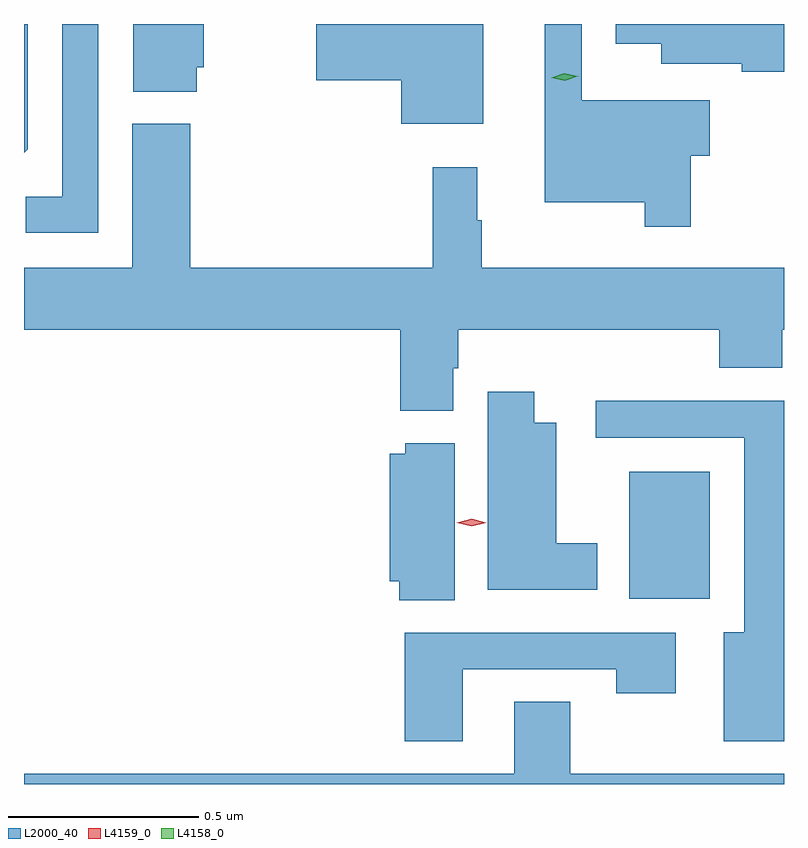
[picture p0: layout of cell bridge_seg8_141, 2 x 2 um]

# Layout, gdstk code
import gdstk
lib = gdstk.Library(unit=1e-6, precision=1e-09)
def R(c, l, rs):  # rectangles x0, y0, x1, y1
    for r in rs: c.add(gdstk.rectangle(r[:2], r[2:], *l))
def P(c, l, *ps):  # polygons
    for p in ps: c.add(gdstk.Polygon(p, *l))
L2000_40 = (2000, 40)
L4158_0 = (4158, 0)
L4159_0 = (4159, 0)

bridge_seg8_141 = lib.new_cell('bridge_seg8_141')
R(bridge_seg8_141, L2000_40, [(528.704,1153.088,528.916,1153.423)])
P(bridge_seg8_141, L2000_40, [(527.121,1154.272),(527.121,1154.601),(527.111,1154.601),(527.111,1154.262)],
  [(527.307,1154.601),(527.211,1154.601),(527.211,1154.147),(527.116,1154.147),(527.116,1154.052),(527.307,1154.052)],
  [(528.865,1154.254),(528.916,1154.254),(528.916,1154.401),(528.579,1154.401),(528.579,1154.601),(528.482,1154.601),(528.482,1154.132),(528.744,1154.132),(528.744,1154.067),(528.865,1154.067)],
  [(529.111,1154.601),(528.668,1154.601),(528.668,1154.549),(528.788,1154.549),(528.788,1154.496),(529,1154.496),(529,1154.476),(529.111,1154.476)],
  [(528.319,1154.601),(527.88,1154.601),(527.88,1154.453),(528.104,1154.453),(528.104,1154.339),(528.319,1154.339)],
  [(527.566,1154.487),(527.584,1154.487),(527.584,1154.601),(527.399,1154.601),(527.399,1154.423),(527.566,1154.423)],
  [(528.241,1153.695),(528.254,1153.695),(528.254,1153.796),(528.941,1153.796),(528.941,1153.697),(529.106,1153.697),(529.106,1153.796),(529.111,1153.796),(529.111,1153.96),(528.316,1153.96),(528.316,1154.084),(528.304,1154.084),(528.304,1154.224),(528.187,1154.224),(528.187,1153.96),(527.549,1153.96),(527.549,1154.338),(527.396,1154.338),(527.396,1153.96),(527.111,1153.96),(527.111,1153.796),(528.101,1153.796),(528.101,1153.583),(528.241,1153.583)],
  [(528.619,1153.234),(528.511,1153.234),(528.511,1153.552),(528.454,1153.552),(528.454,1153.633),(528.332,1153.633),(528.332,1153.112),(528.619,1153.112)],
  [(529.111,1153.61),(528.615,1153.61),(528.615,1153.512),(529.007,1153.512),(529.007,1153),(528.953,1153),(528.953,1152.714),(529.111,1152.714)],
  [(528.244,1153.498),(528.114,1153.498),(528.114,1153.47),(528.074,1153.47),(528.074,1153.134),(528.098,1153.134),(528.098,1153.084),(528.244,1153.084)],
  [(528.265,1152.903),(528.67,1152.903),(528.67,1152.84),(528.826,1152.84),(528.826,1152.999),(528.113,1152.999),(528.113,1152.714),(528.265,1152.714)],
  [(529.111,1152.628),(528.549,1152.628),(528.549,1152.818),(528.401,1152.818),(528.401,1152.628),(527.111,1152.628),(527.111,1152.601),(529.111,1152.601)])
P(bridge_seg8_141, L4158_0, [(528.534,1154.452),(528.498,1154.46),(528.498,1154.46),(528.498,1154.46),(528.533,1154.472),(528.568,1154.464),(528.569,1154.464),(528.568,1154.463)])
P(bridge_seg8_141, L4159_0, [(528.289,1153.279),(528.25,1153.289),(528.25,1153.289),(528.25,1153.289),(528.289,1153.299),(528.328,1153.289),(528.328,1153.289),(528.328,1153.289)])

lib.write_gds('bridge_seg8_141.gds')
